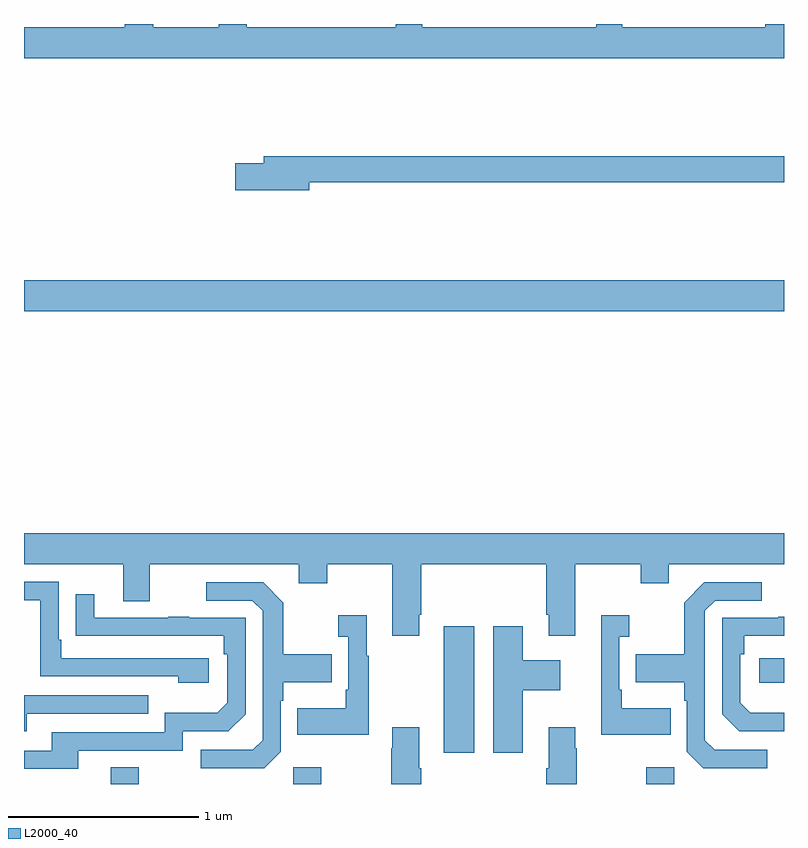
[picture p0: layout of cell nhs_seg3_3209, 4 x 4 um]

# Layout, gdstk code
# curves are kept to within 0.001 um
import gdstk
lib = gdstk.Library(unit=1e-6, precision=1e-09)
def R(c, l, rs):  # rectangles x0, y0, x1, y1
    for r in rs: c.add(gdstk.rectangle(r[:2], r[2:], *l))
def P(c, l, *ps):  # polygons
    for p in ps: c.add(gdstk.Polygon(p, *l))
L2000_40 = (2000, 40)

nhs_seg3_3209 = lib.new_cell('nhs_seg3_3209')
R(nhs_seg3_3209, L2000_40, [(277.457,726.4,277.605,726.487), (278.418,726.4,278.565,726.487), (280.276,726.4,280.422,726.487), (279.209,726.564,279.37,727.231), (280.869,726.932,281,727.062), (277,728.888,281,729.052)])
P(nhs_seg3_3209, L2000_40, [(281,730.4),(280.901,730.4),(280.901,730.384),(280.149,730.384),(280.149,730.4),(280.011,730.4),(280.011,730.384),(279.097,730.384),(279.097,730.4),(278.957,730.4),(278.957,730.384),(278.173,730.384),(278.173,730.4),(278.026,730.4),(278.026,730.384),(277.681,730.384),(277.681,730.4),(277.529,730.4),(277.529,730.384),(277,730.384),(277,730.22),(281,730.22)],
  [(278.5,729.568),(281,729.568),(281,729.704),(278.261,729.704),(278.261,729.668),(278.112,729.668),(278.112,729.526),(278.5,729.526)],
  [(279.079,727.291),(279.092,727.291),(279.092,727.556),(279.749,727.556),(279.749,727.291),(279.761,727.291),(279.761,727.179),(279.901,727.179),(279.901,727.556),(280.246,727.556),(280.246,727.457),(280.393,727.457),(280.393,727.556),(281,727.556),(281,727.72),(277,727.72),(277,727.556),(277.523,727.556),(277.523,727.362),(277.663,727.362),(277.663,727.556),(278.447,727.556),(278.447,727.457),(278.595,727.457),(278.595,727.556),(278.939,727.556),(278.939,727.179),(279.079,727.179)],
  [(277.972,727.062),(277.195,727.062),(277.195,727.159),(277.182,727.159),(277.182,727.464),(277,727.464),(277,727.368),(277.086,727.368),(277.086,726.966),(277.811,726.966),(277.811,726.932),(277.972,726.932)],
  [(278.352,726.57),(278.352,726.839),(278.365,726.839),(278.365,726.935),(278.621,726.935),(278.621,727.083),(278.365,727.083),(278.365,727.355),(278.259,727.461),(277.959,727.461),(277.959,727.365),(278.202,727.365),(278.256,727.311),(278.256,726.63),(278.205,726.579),(277.929,726.579),(277.929,726.483),(278.265,726.483)],
  [(280.912,726.579),(280.635,726.579),(280.584,726.63),(280.584,727.311),(280.638,727.365),(280.882,727.365),(280.882,727.461),(280.581,727.461),(280.476,727.355),(280.476,727.083),(280.219,727.083),(280.219,726.935),(280.476,726.935),(280.476,726.839),(280.488,726.839),(280.488,726.57),(280.575,726.483),(280.912,726.483)],
  [(277.285,726.576),(277.836,726.576),(277.836,726.678),(278.076,726.678),(278.166,726.768),(278.166,727.275),(277.871,727.275),(277.871,727.28),(277.759,727.28),(277.759,727.275),(277.369,727.275),(277.369,727.399),(277.273,727.399),(277.273,727.18),(278.05,727.179),(278.05,727.082),(278.07,727.082),(278.07,726.828),(278.017,726.775),(277.74,726.775),(277.74,726.672),(277.145,726.672),(277.145,726.576),(277,726.576),(277,726.48),(277.285,726.48)],
  [(280.403,726.799),(280.147,726.799),(280.147,726.895),(280.134,726.895),(280.134,727.175),(280.186,727.175),(280.186,727.288),(280.037,727.288),(280.037,726.659),(280.403,726.659)],
  [(278.815,727.075),(278.803,727.075),(278.803,727.288),(278.655,727.288),(278.655,727.175),(278.706,727.175),(278.706,726.895),(278.694,726.895),(278.694,726.799),(278.437,726.799),(278.437,726.659),(278.815,726.659)],
  [(281,726.775),(280.823,726.775),(280.77,726.828),(280.77,727.082),(280.79,727.082),(280.79,727.179),(281,727.179),(281,727.28),(280.969,727.28),(280.969,727.275),(280.674,727.275),(280.674,726.768),(280.764,726.678),(281,726.678)],
  [(279.625,726.893),(279.823,726.893),(279.823,727.051),(279.625,727.051),(279.625,727.231),(279.47,727.231),(279.47,726.564),(279.625,726.564)],
  [(277.015,726.771),(277.655,726.771),(277.655,726.867),(277,726.867),(277,726.677),(277.015,726.677)],
  [(279.092,726.484),(279.079,726.484),(279.079,726.7),(278.939,726.7),(278.939,726.587),(278.932,726.587),(278.932,726.4),(279.092,726.4)],
  [(279.909,726.587),(279.901,726.587),(279.901,726.7),(279.761,726.7),(279.761,726.484),(279.749,726.484),(279.749,726.4),(279.909,726.4)])

lib.write_gds('nhs_seg3_3209.gds')
